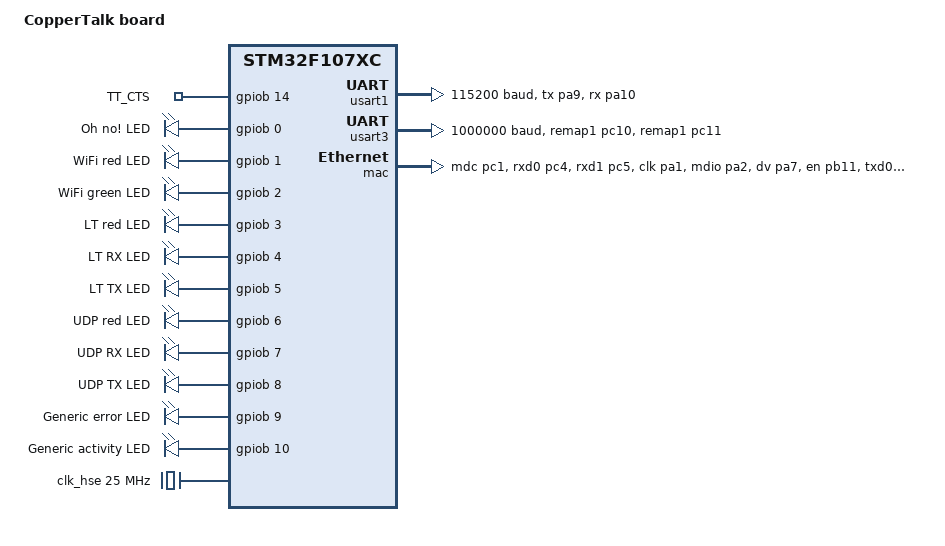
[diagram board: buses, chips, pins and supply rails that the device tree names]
/*
 * Copyright (c) 2017 Linaro Limited
 *
 * SPDX-License-Identifier: Apache-2.0
 */

/dts-v1/;
#include <st/f1/stm32f107Xc.dtsi>
#include <st/f1/stm32f107r(b-c)tx-pinctrl.dtsi>

/ {
	model = "CopperTalk board";
	compatible = "coppertalk";

	chosen {
		zephyr,console = &usart1;
		zephyr,shell-uart = &usart1;
		//zephyr,console = &cdc_acm_uart0;
		//zephyr,shell-uart = &cdc_acm_uart0;
		zephyr,sram = &sram0;
		zephyr,flash = &flash0;
	};

	gpio_keys {
		compatible="gpio-keys";
		ttcts: tt_cts {
			label = "TT_CTS";
			gpios = <&gpiob 14 (GPIO_ACTIVE_HIGH | GPIO_PULL_UP)>;
		};
		
	};

	leds {
		compatible= "gpio-leds";

		oh_no_led: oh_no_led {
			gpios = <&gpiob 0 GPIO_ACTIVE_HIGH>;
			label = "Oh no! LED";
		};

		wifi_red_led: wifi_red_led {
			gpios = <&gpiob 1 GPIO_ACTIVE_HIGH>;
			label = "WiFi red LED";
		};

		wifi_green_led: wifi_green_led {
			gpios = <&gpiob 2 GPIO_ACTIVE_HIGH>;
			label = "WiFi green LED";
		};

		lt_red_led: lt_red_led {
			gpios = <&gpiob 3 GPIO_ACTIVE_HIGH>;
			label = "LT red LED";
		};

		lt_rx_led: lt_rx_led {
			gpios = <&gpiob 4 GPIO_ACTIVE_HIGH>;
			label = "LT RX LED";
		};

		lt_tx_led: lt_tx_led {
			gpios = <&gpiob 5 GPIO_ACTIVE_HIGH>;
			label = "LT TX LED";
		};

		udp_red_led: udp_red_led {
			gpios = <&gpiob 6 GPIO_ACTIVE_HIGH>;
			label = "UDP red LED";
		};

		udp_rx_led: udp_rx_led {
			gpios = <&gpiob 7 GPIO_ACTIVE_HIGH>;
			label = "UDP RX LED";
		};

		udp_tx_led: udp_tx_led {
			gpios = <&gpiob 8 GPIO_ACTIVE_HIGH>;
			label = "UDP TX LED";
		};

		generic_err_led: generic_err_led {
			gpios = <&gpiob 9 GPIO_ACTIVE_HIGH>;
			label = "Generic error LED";
		};

		generic_act_led: generic_act_led {
			gpios = <&gpiob 10 GPIO_ACTIVE_HIGH>;
			label = "Generic activity LED";
		};
	};

	aliases {
		wifi-red-led = &wifi_red_led;
		wifi-green-led = &wifi_green_led;
		udp-red-led = &udp_red_led;
		udp-tx-led = &udp_tx_led;
		udp-rx-led = &udp_rx_led;
		lt-red-led = &lt_red_led;
		lt-tx-led = &lt_tx_led;
		lt-rx-led = &lt_rx_led;
		oh-no-led = &oh_no_led;
		generic-err-led = &generic_err_led;
		generic-act-led = &generic_act_led;

		tt-cts = &ttcts;
		uart-tt = &usart3;
		uart-usb = &usart1;
	};
};

&clk_hse {
	status = "okay";
	clock-frequency = <DT_FREQ_M(25)>; /* 25MHz crystal */
};

&pll2 {
	status = "okay";
	clocks = <&clk_hse>;
	prediv = <5>; /* Prediv2 */
	mul = <8>; /* PLL2Mul */
};

&pll {
	status = "okay";
	clocks = <&pll2>; /* Prediv1 Source Mux */
	prediv = <5>; /* Prediv1 */
	mul = <9>; /* PLLMul */
};

&rcc {
	status = "okay";
	clocks = <&pll>;
	clock-frequency = <DT_FREQ_M(72)>;
	ahb-prescaler = <1>;
	apb1-prescaler = <2>;
	apb2-prescaler = <1>;
};

&usart1 {
	status = "okay";
	pinctrl-0 = <&usart1_tx_pa9 &usart1_rx_pa10>;
	pinctrl-names = "default";
	current-speed = <115200>;
};

&usart3 {
	status = "okay";
	//pinctrl-0 = <&usart3_tx_remap1_pc10 &usart3_rx_remap1_pc11 &usart3_rts_pb14 &usart3_cts_pb13>;
	//pinctrl-0 = <&usart3_tx_remap1_pc10 &usart3_rx_remap1_pc11 &usart3_rts_pb14>;
	pinctrl-0 = <&usart3_tx_remap1_pc10 &usart3_rx_remap1_pc11>;
	pinctrl-names = "default";
	current-speed = <1000000>;
	//hw-flow-control;
};



&dma1 {
	status = "okay";
};

&mac {
	status = "okay";
	pinctrl-0 = <&eth_mdc_pc1
		     &eth_rxd0_pc4
		     &eth_rxd1_pc5
		     &eth_ref_clk_pa1
		     &eth_mdio_pa2
		     &eth_crs_dv_pa7
		     &eth_tx_en_pb11
		     &eth_txd0_pb12
		     &eth_txd1_pb13
		     &mco1_pa8>;
	pinctrl-names = "default";
};
/*
zephyr_udc0: &usbotg_fs {
	status = "okay";
	pinctrl-0 = <&usb_otg_fs_dm_pa11 &usb_otg_fs_dp_pa12>;
	pinctrl-names = "default";
};

&zephyr_udc0 {
	cdc_acm_uart0: cdc_acm_uart0 {
		compatible = "zephyr,cdc-acm-uart";
	};
};
*/

&flash0 {
	partitions {
		compatible = "fixed-partitions";
		#address-cells = <1>;
		#size-cells = <1>;

		/* Set 2KB of storage at the end of 256KB flash */
		storage_partition: partition@1f800 {
			label = "storage";
			reg = <0x0003f800 0x00000800>;
		};
	};
};

/* GD32F107RCT6 has 96k of SRAM instead of 64k */
&sram0 {
	reg = <0x20000000 DT_SIZE_K(96)>;
};

&gpioa {
    pinctrl-0 = <&mco1_pa8>;
    pinctrl-names = "default";
};

&pinctrl {
	mco1_pa8: mco1_pa8 {
		pinmux = <STM32F1_PINMUX('A', 8, ALTERNATE, NO_REMAP)>;
		slew-rate = "max-speed-50mhz";
	};

	/* Free up PB3/PB4 by disabling JTAG debugging since it is not supported on the board */
	swj-cfg = "jtag-disable";
};
